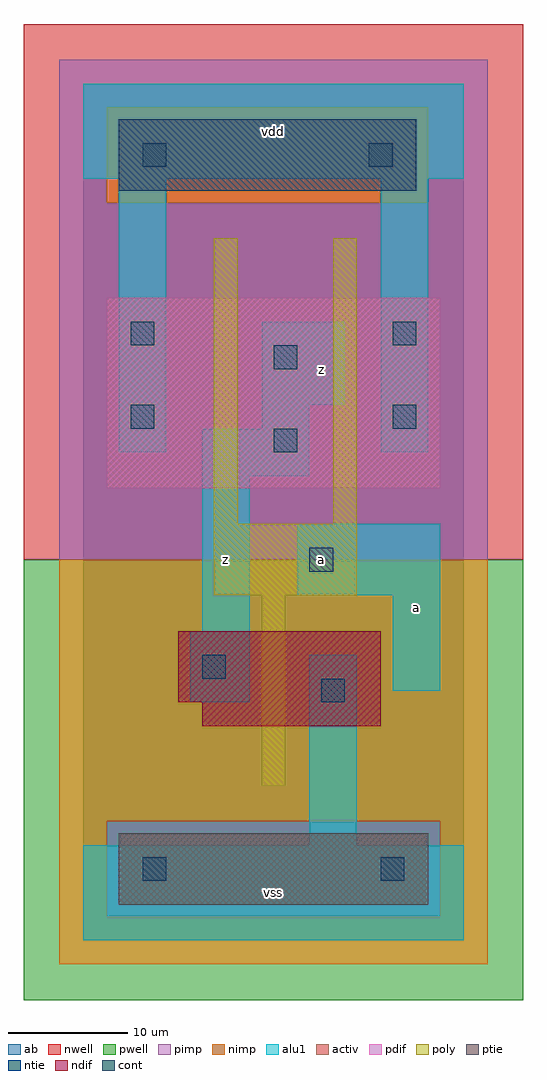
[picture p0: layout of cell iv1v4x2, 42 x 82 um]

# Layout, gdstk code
import gdstk
lib = gdstk.Library(unit=1e-6, precision=1e-09)
def R(c, l, rs):  # rectangles x0, y0, x1, y1
    for r in rs: c.add(gdstk.rectangle(r[:2], r[2:], *l))
ndif = (3, 0)
pdif = (4, 0)
ntie = (5, 0)
ptie = (6, 0)
cont = (25, 0)
pwell = (41, 0)
nwell = (42, 0)
activ = (43, 0)
pimp = (44, 0)
nimp = (45, 0)
poly = (46, 0)
alu1 = (49, 0)
ab = (63, 0)

iv1v4x2 = lib.new_cell('iv1v4x2')
R(iv1v4x2, ndif, [(10,18,25,20), (8,20,25,26)])
R(iv1v4x2, pdif, [(2,38,30,54)])
R(iv1v4x2, ntie, [(3,63,28,69)])
R(iv1v4x2, ptie, [(3,3,29,9)])
R(iv1v4x2, cont, [(5,5,7,7), (25,5,27,7), (20,20,22,22), (10,22,12,24), (19,31,21,33), (16,41,18,43), (4,43,6,45), (26,43,28,45), (16,48,18,50), (4,50,6,52), (26,50,28,52), (5,65,7,67), (24,65,26,67)])
R(iv1v4x2, pwell, [(-5,-5,37,32)])
R(iv1v4x2, nwell, [(-5,32,37,77)])
R(iv1v4x2, activ, [(3,3,29,9), (10,18,25,20), (8,20,25,26), (2,38,30,54), (3,63,28,69)])
R(iv1v4x2, pimp, [(2,2,30,10), (-2,32,34,62), (-2,62,2,70), (29,62,34,70), (-2,70,34,74)])
R(iv1v4x2, nimp, [(-2,-2,34,2), (-2,2,2,10), (30,2,34,10), (-2,10,34,32), (2,62,29,70)])
R(iv1v4x2, poly, [(15,13,17,29), (11,29,23,35), (11,35,13,59), (21,35,23,59)])
R(iv1v4x2, alu1, [(0,0,32,8), (19,8,23,24), (9,20,14,26), (26,21,30,29), (10,26,14,39), (18,29,30,35), (10,39,19,43), (3,41,7,64), (25,41,29,64), (15,43,19,45), (15,45,22,52), (0,64,32,72)])
R(iv1v4x2, ab, [(0,0,32,72)])
iv1v4x2.add(gdstk.Label('z', (12,32), layer=49, texttype=0))
iv1v4x2.add(gdstk.Label('vss', (16,4), layer=49, texttype=0))
iv1v4x2.add(gdstk.Label('a', (20,32), layer=49, texttype=0))
iv1v4x2.add(gdstk.Label('z', (20,48), layer=49, texttype=0))
iv1v4x2.add(gdstk.Label('vdd', (16,68), layer=49, texttype=0))
iv1v4x2.add(gdstk.Label('a', (28,28), layer=49, texttype=0))

lib.write_gds('iv1v4x2.gds')
